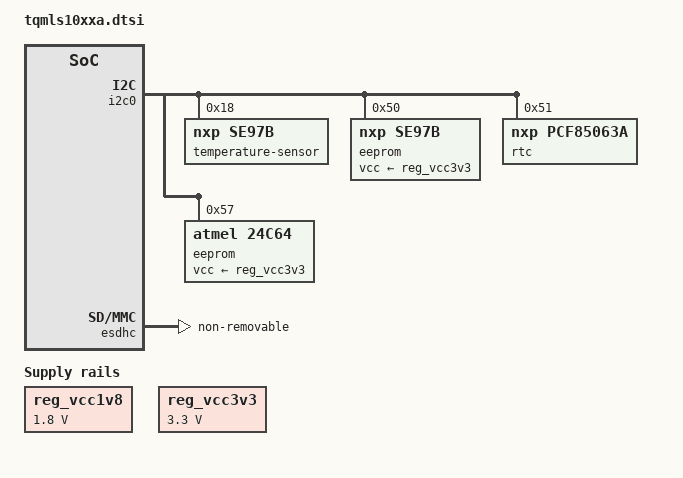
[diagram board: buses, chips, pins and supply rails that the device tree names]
// SPDX-License-Identifier: (GPL-2.0-or-later OR MIT)
/*
 * Copyright (c) 2018-2023 TQ-Systems GmbH <linux@ew.tq-group.com>,
 * D-82229 Seefeld, Germany.
 * Author: Gregor Herburger, Timo Herbrecher
 *
 * Device Tree Include file for TQMLs10xxA SoM of TQ
 */

/ {
	reg_vcc1v8: regulator-vcc1v8 {
		compatible = "regulator-fixed";
		regulator-name = "VCC1V8";
		regulator-min-microvolt = <1800000>;
		regulator-max-microvolt = <1800000>;
		regulator-always-on;
	};

	reg_vcc3v3: regulator-vcc3v3 {
		compatible = "regulator-fixed";
		regulator-name = "VCC3V3";
		regulator-min-microvolt = <3300000>;
		regulator-max-microvolt = <3300000>;
		regulator-always-on;
	};
};

&i2c0 {
	status = "okay";

	temperature-sensor@18 {
		compatible = "nxp,se97b", "jedec,jc-42.4-temp";
		reg = <0x18>;
	};

	eeprom@50 {
		compatible = "nxp,se97b", "atmel,24c02";
		reg = <0x50>;
		pagesize = <16>;
		vcc-supply = <&reg_vcc3v3>;
		read-only;
	};

	rtc@51 {
		compatible = "nxp,pcf85063a";
		reg = <0x51>;
	};

	eeprom@57 {
		compatible = "atmel,24c64";
		reg = <0x57>;
		pagesize = <32>;
		vcc-supply = <&reg_vcc3v3>;
	};
};

&esdhc {
	/* eSDHC or eMMC: set by bootloader */
	non-removable;
	disable-wp;
	mmc-hs200-1_8v;
	sd-uhs-sdr104;
	sd-uhs-sdr50;
	sd-uhs-sdr25;
	sd-uhs-sdr12;
};
